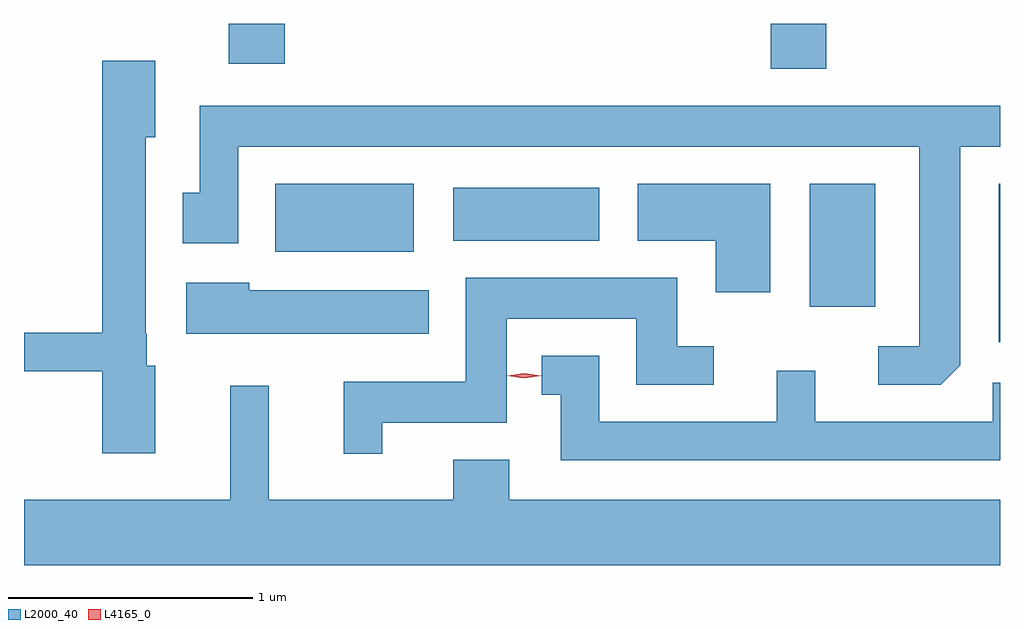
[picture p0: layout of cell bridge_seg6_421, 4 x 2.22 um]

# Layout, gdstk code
import gdstk
lib = gdstk.Library(unit=1e-6, precision=1e-09)
def R(c, l, rs):  # rectangles x0, y0, x1, y1
    for r in rs: c.add(gdstk.rectangle(r[:2], r[2:], *l))
def P(c, l, *ps):  # polygons
    for p in ps: c.add(gdstk.Polygon(p, *l))
L2000_40 = (2000, 40)
L4165_0 = (4165, 0)

bridge_seg6_421 = lib.new_cell('bridge_seg6_421')
R(bridge_seg6_421, L2000_40, [(824.656,1630.871,824.661,1631.519), (823.881,1631.016,824.149,1631.519), (821.691,1631.241,822.259,1631.519), (822.421,1631.286,823.019,1631.504), (823.721,1631.991,823.949,1632.176), (821.501,1632.011,821.729,1632.176)])
P(bridge_seg6_421, L2000_40, [(821.199,1630.774),(821.164,1630.774),(821.164,1630.905),(821.159,1630.905),(821.159,1631.711),(821.199,1631.711),(821.199,1632.024),(820.981,1632.024),(820.981,1630.909),(820.661,1630.909),(820.661,1630.751),(820.981,1630.751),(820.981,1630.416),(821.199,1630.416)],
  [(824.499,1630.777),(824.499,1631.671),(824.661,1631.671),(824.661,1631.839),(821.381,1631.839),(821.381,1631.484),(821.311,1631.484),(821.311,1631.276),(821.539,1631.276),(821.539,1631.671),(824.331,1631.671),(824.331,1630.854),(824.163,1630.854),(824.163,1630.696),(824.419,1630.696)],
  [(823.719,1631.519),(823.176,1631.519),(823.176,1631.286),(823.496,1631.286),(823.496,1631.076),(823.719,1631.076)],
  [(822.129,1630.541),(822.639,1630.541),(822.639,1630.966),(823.171,1630.966),(823.171,1630.696),(823.488,1630.696),(823.488,1630.854),(823.339,1630.854),(823.339,1631.134),(822.471,1631.134),(822.471,1630.709),(821.971,1630.709),(821.971,1630.413),(822.129,1630.413)],
  [(822.319,1631.084),(821.584,1631.084),(821.584,1631.114),(821.326,1631.114),(821.326,1630.906),(822.319,1630.906)],
  [(824.661,1630.704),(824.631,1630.704),(824.631,1630.544),(823.904,1630.544),(823.904,1630.753),(823.746,1630.753),(823.746,1630.544),(823.019,1630.544),(823.019,1630.814),(822.783,1630.814),(822.783,1630.656),(822.861,1630.656),(822.861,1630.386),(824.661,1630.386)],
  [(824.661,1630.224),(822.649,1630.224),(822.649,1630.389),(822.421,1630.389),(822.421,1630.224),(821.664,1630.224),(821.664,1630.693),(821.506,1630.693),(821.506,1630.224),(820.661,1630.224),(820.661,1629.956),(824.661,1629.956)])
P(bridge_seg6_421, L4165_0, [(822.711,1630.723),(822.642,1630.732),(822.642,1630.733),(822.642,1630.733),(822.711,1630.743),(822.781,1630.733),(822.781,1630.733),(822.781,1630.732)])

lib.write_gds('bridge_seg6_421.gds')
